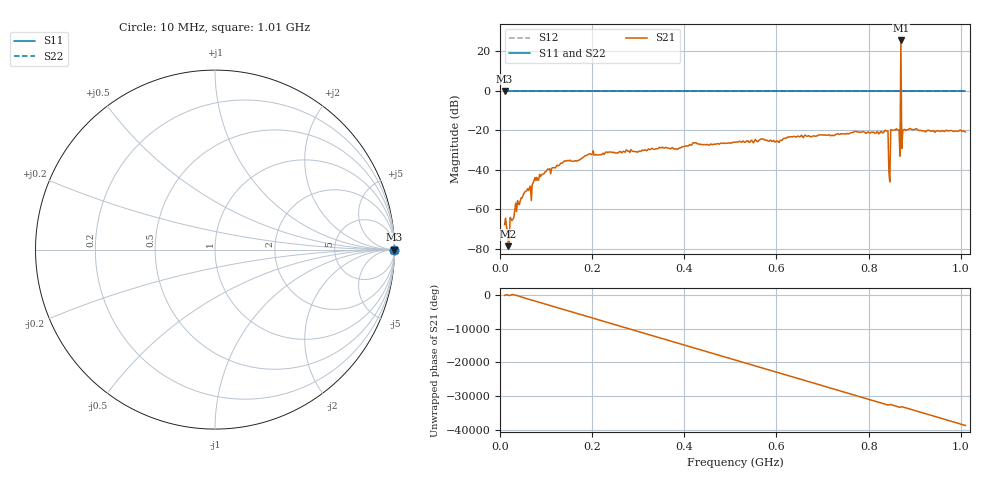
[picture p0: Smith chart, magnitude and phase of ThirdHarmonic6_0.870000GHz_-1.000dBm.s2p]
! 8/16/2025 4:43:53 AM
! C:\ANRITSUVNA\TEMP\TEMP.S2P
! CHANNEL.1
! TR.MEASUREMENT
! RAW.DATA
! RF.CORRECTION.OFF
! AVERAGING.OFF
! IF.BANDWIDTH: 5KHZ
! SWEEPTYPE:  FREQ.SWEEP(Linear)
! Reference Plane Port Info
! PORT:  PORT1  PORT2
! DISTANCE:  0  m  0  m
! TIME:  0  s  0  s
! PHASE.OFFSET:  0  deg.  0  deg.
! LOSS:  0  dB  0  dB
! REF.LOSS:  0  dB  0  dB
! REF.FREQ:  0  Hz  0  Hz
! Power Info
! POWER:  -20  dBm  -20  dBm
! EFF.POWER:  -20  dBm  -20  dBm
! SOURCE.ATTEN:  0  dB  0  dB
! TEST.ATTEN:  0  dB  0  dB
# GHZ S RI R 50.0
! FREQ.GHZ  S11RE  S11IM  S21RE  S21IM  S12RE  S12IM  S22RE  S22IM
!; PortSelection: Port_12
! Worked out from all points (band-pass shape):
!   501 points, 10 MHz to 1.01 GHz, reference 50 ohm
!   highest |S21| = 25.54 dB at 870 MHz (marker M1); lowest = -78.6 dB at 18 MHz (marker M2)
!   |S21| within 3 dB of the highest: 869.8976 MHz to 870.1097 MHz (212.2 kHz wide, 0.0244 % of centre)
!   lowest |S11| = 0.0 dB at 10 MHz (marker M3)
!   |S11| at or under -10 dB: nowhere
!   |S22| runs from 0.0 to 0.0 dB; largest |S21 - S12| = 20
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0.01  1 0  -0.000228 -0.000345  1 0  1 0
0.018  1 0  4.8e-05 -0.000107  1 0  1 0
0.036  1 0  -0.00087 -0.000153  1 0  1 0
0.076  1 0  0.00632 0.00129  1 0  1 0
0.142  1 0  -0.016 -0.00543  1 0  1 0
0.178  1 0  -0.0197 -0.00351  1 0  1 0
0.344  1 0  0.0327 -0.0128  1 0  1 0
0.51  1 0  -0.0396 0.0316  1 0  1 0
0.678  1 0  -0.055 -0.0451  1 0  1 0
0.838  1 0  -0.0449 -0.087  1 0  1 0
0.842  1 0  0.0127 0.0954  1 0  1 0
0.844  1 0  -0.00585 0.00655  1 0  1 0
0.848  1 0  -0.0977 -0.0367  1 0  1 0
0.852  1 0  0.0807 0.0614  1 0  1 0
0.862  1 0  0.1029 -0.0129  1 0  1 0
0.864  1 0  0.00266 -0.1023  1 0  1 0
0.866  1 0  -0.1003 -0.0158  1 0  1 0
0.87  1 0  -16.72 -8.847  1 0  1 0
0.874  1 0  -0.0588 -0.0796  1 0  1 0
0.876  1 0  -0.0912 0.0516  1 0  1 0
0.89  1 0  0.0567 -0.0971  1 0  1 0
1.01  1 0  -0.0628 0.0658  1 0  1 0
